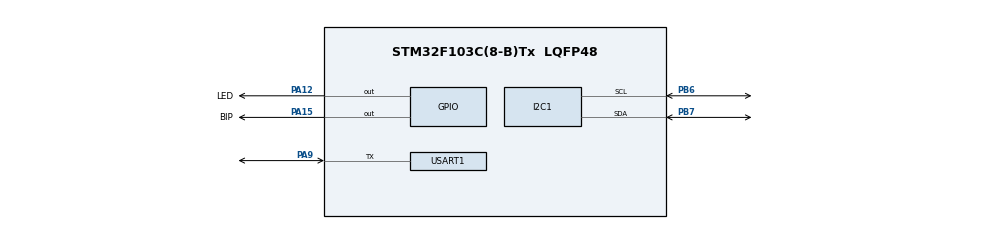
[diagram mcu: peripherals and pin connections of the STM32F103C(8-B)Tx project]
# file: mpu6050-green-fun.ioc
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IWDG.Reload=3000
Mcu.Family=STM32F1
Mcu.Name=STM32F103C(8-B)Tx
Mcu.Package=LQFP48
NVIC.PriorityGroup=NVIC_PRIORITYGROUP_4
PA12.GPIO_Label=LED
PA12.GPIO_ModeDefaultOutputPP=GPIO_MODE_OUTPUT_OD
PA12.GPIO_PuPd=GPIO_NOPULL
PA12.PinState=GPIO_PIN_SET
PA12.Signal=GPIO_Output
PA13.Mode=Serial_Wire
PA13.Signal=SYS_JTMS-SWDIO
PA14.Mode=Serial_Wire
PA14.Signal=SYS_JTCK-SWCLK
PA15.GPIO_Label=BIP
PA15.GPIO_ModeDefaultOutputPP=GPIO_MODE_OUTPUT_OD
PA15.GPIO_PuPd=GPIO_NOPULL
PA15.PinState=GPIO_PIN_SET
PA15.Signal=GPIO_Output
PA9.Mode=Half_duplex(single_wire_mode)
PA9.Signal=USART1_TX
PB6.Mode=I2C
PB6.Signal=I2C1_SCL
PB7.Mode=I2C
PB7.Signal=I2C1_SDA
ProjectManager.HeapSize=0x200
ProjectManager.StackSize=0x400
ProjectManager.TargetToolchain=STM32CubeIDE
RCC.APB1Freq_Value=8000000
RCC.APB2Freq_Value=8000000
USART1.BaudRate=62500
USART1.VirtualMode=VM_ASYNC
VP_IWDG_VS_IWDG.Mode=IWDG_Activate
board=custom

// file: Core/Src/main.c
/* USER CODE BEGIN Header */
/**
  ******************************************************************************
  * @file           : main.c
  * @brief          : Main program body
  ******************************************************************************
  * @attention
  *
  * Copyright (c) 2022 STMicroelectronics.
  * All rights reserved.
  *
  * This software is licensed under terms that can be found in the LICENSE file
  * in the root directory of this software component.
  * If no LICENSE file comes with this software, it is provided AS-IS.
  *
  ******************************************************************************
  */
/* USER CODE END Header */
#include "main.h"
#include "i2c.h"
#include "iwdg.h"
#include "usart.h"
#include "gpio.h"

/* USER CODE BEGIN Includes */

	#include <string.h>
	#include "stdio.h"
	#include "mpu6050.h"

/* USER CODE END Includes */

/* USER CODE BEGIN PD */

	#define 	MY_DEBUG
#ifdef MY_DEBUG
	#define 	UART_DEBUG 			&huart1
#endif

/* USER CODE END PD */

/* USER CODE BEGIN PM */

	MPU6050_t MPU6050;

/* USER CODE END PM */

void SystemClock_Config(void);
/* USER CODE BEGIN PFP */

void UartDebug(char* _text) ;
void I2C_ScanBusFlow(I2C_HandleTypeDef * _hi2c, UART_HandleTypeDef * _huart) ;

/* USER CODE END PFP */

int main(void)
{

  /* MCU Configuration--------------------------------------------------------*/

  /* Reset of all peripherals, Initializes the Flash interface and the Systick. */
  HAL_Init();

  /* Configure the system clock */
  SystemClock_Config();

  /* Initialize all configured peripherals */
  MX_GPIO_Init();
  MX_I2C1_Init();
  MX_USART1_UART_Init();
  MX_IWDG_Init();
  /* USER CODE BEGIN 2 */

	char		debugString[0XFF]	= { 0 } ;

	#define 	DATE_as_int_str 	(__DATE__)
	#define 	TIME_as_int_str 	(__TIME__)
	sprintf(debugString,"\tBuild: %s. Time: %s.\r\n" ,	DATE_as_int_str , TIME_as_int_str ) ;
	UartDebug(debugString);

	sprintf(debugString,"\tПоточний проєкт: %s\n", PROJECT_NAME);
	UartDebug(debugString);

	I2C_ScanBusFlow(&hi2c1, &huart1);

	sprintf(debugString,"Connect to MPU6050... " ) ;
	UartDebug(debugString);

	while (MPU6050_Init(&hi2c1) == 1);

	sprintf(debugString,"successful!\r\n\r\n" ) ;
	UartDebug(debugString);
	HAL_IWDG_Refresh( &hiwdg ) ;

	for (uint8_t i=0; i<3; i++) {
		HAL_GPIO_WritePin(BIP_GPIO_Port, BIP_Pin, RESET ) ;
		HAL_GPIO_WritePin(LED_GPIO_Port, LED_Pin, RESET ) ;
		HAL_Delay(50);
		HAL_GPIO_WritePin(BIP_GPIO_Port, BIP_Pin, SET ) ;
		HAL_GPIO_WritePin(LED_GPIO_Port, LED_Pin, SET ) ;
		HAL_Delay(200);
		HAL_IWDG_Refresh( &hiwdg ) ;
	}
  /* USER CODE END 2 */

  /* Infinite loop */
  /* USER CODE BEGIN WHILE */
  while (1)
  {
	MPU6050_Read_All(&hi2c1, &MPU6050);
//	HAL_Delay(100);
//	sprintf(debugString,"x.Raw -> %x\ty.Raw -> %x\tz.Raw -> %x\t ", MPU6050.Accel_X_RAW , MPU6050.Accel_Y_RAW , MPU6050.Accel_Z_RAW);
//	UartDebug(debugString);
//
//	sprintf(debugString,"x -> %fx\ty -> %fx\tz -> %fx\t \n\r", MPU6050.Ax, MPU6050.Ay, MPU6050.Az);
//	UartDebug(debugString);

	HAL_Delay(100);
	sprintf(debugString,"%f \t %f \t %f", MPU6050.Ax, MPU6050.Ay, MPU6050.Az);
	UartDebug(debugString);

	int x_int = (int)( 100.0 * MPU6050.Ax ) ;
	int y_int = (int)( 100.0 * MPU6050.Ay ) ;
	int z_int = (int)( 100.0 * MPU6050.Az ) ;
	int q_int = (x_int * x_int) + (y_int * y_int) + (z_int * z_int) ;

	sprintf(debugString,"\t %d \t %d \t %d \t %d \r\n", x_int, y_int, z_int, q_int );
	UartDebug(debugString);

	if ( q_int != 0 ) {
		HAL_IWDG_Refresh( &hiwdg ) ;
	}

	if ((q_int > 0 ) && (q_int < 500 )) {
		HAL_GPIO_WritePin(LED_GPIO_Port, LED_Pin, SET ) ;
		HAL_GPIO_WritePin(BIP_GPIO_Port, BIP_Pin, RESET ) ;
	} else {
		HAL_GPIO_WritePin(LED_GPIO_Port, LED_Pin, RESET ) ;
		HAL_GPIO_WritePin(BIP_GPIO_Port, BIP_Pin, SET ) ;
	}

    /* USER CODE END WHILE */

  }
}

void SystemClock_Config(void)
{
  RCC_OscInitTypeDef RCC_OscInitStruct = {0};
  RCC_ClkInitTypeDef RCC_ClkInitStruct = {0};

  /** Initializes the RCC Oscillators according to the specified parameters
  * in the RCC_OscInitTypeDef structure.
  */
  RCC_OscInitStruct.OscillatorType = RCC_OSCILLATORTYPE_HSI|RCC_OSCILLATORTYPE_LSI;
  RCC_OscInitStruct.HSIState = RCC_HSI_ON;
  RCC_OscInitStruct.HSICalibrationValue = RCC_HSICALIBRATION_DEFAULT;
  RCC_OscInitStruct.LSIState = RCC_LSI_ON;
  RCC_OscInitStruct.PLL.PLLState = RCC_PLL_NONE;
  if (HAL_RCC_OscConfig(&RCC_OscInitStruct) != HAL_OK)
  {
    Error_Handler();
  }

  /** Initializes the CPU, AHB and APB buses clocks
  */
  RCC_ClkInitStruct.ClockType = RCC_CLOCKTYPE_HCLK|RCC_CLOCKTYPE_SYSCLK
                              |RCC_CLOCKTYPE_PCLK1|RCC_CLOCKTYPE_PCLK2;
  RCC_ClkInitStruct.SYSCLKSource = RCC_SYSCLKSOURCE_HSI;
  RCC_ClkInitStruct.AHBCLKDivider = RCC_SYSCLK_DIV1;
  RCC_ClkInitStruct.APB1CLKDivider = RCC_HCLK_DIV1;
  RCC_ClkInitStruct.APB2CLKDivider = RCC_HCLK_DIV1;

  if (HAL_RCC_ClockConfig(&RCC_ClkInitStruct, FLASH_LATENCY_0) != HAL_OK)
  {
    Error_Handler();
  }
}

/* USER CODE BEGIN 4 */

void UartDebug(char* _text) {
	#ifdef MY_DEBUG
		HAL_UART_Transmit(UART_DEBUG, (uint8_t*)_text, strlen(_text), 100);
	#endif
}	//***********************************************************************

//======================================================================
void I2C_ScanBusFlow(I2C_HandleTypeDef * _hi2c, UART_HandleTypeDef * _huart) {
	char DataChar[64];
	uint8_t device_serial_numb = 0;

	sprintf(DataChar,"\r\n\tStart scan I2C\r\n");
	HAL_UART_Transmit(_huart, (uint8_t *)DataChar, strlen(DataChar), 100);

	for ( uint8_t sbf = 0x07; sbf < 0x78; sbf++) {
		if (HAL_I2C_IsDeviceReady(_hi2c, sbf << 1, 10, 100) == HAL_OK) {
			device_serial_numb++;
			switch (sbf) {
				case 0x20: sprintf(DataChar,"%d) PCF-8574"			, device_serial_numb ) ; 	break ;
				case 0x23: sprintf(DataChar,"%d) BH-1750"			, device_serial_numb ) ; 	break ;
				case 0x27: sprintf(DataChar,"%d) FC113 "			, device_serial_numb ) ; 	break ;
				case 0x38: sprintf(DataChar,"%d) PCF-8574"			, device_serial_numb ) ; 	break ;
				case 0x57: sprintf(DataChar,"%d) AT24c32"			, device_serial_numb ) ; 	break ;
				case 0x50: sprintf(DataChar,"%d) AT24c256"			, device_serial_numb ) ; 	break ;
				case 0x68: sprintf(DataChar,"%d) DS3231 or MPU9250"	, device_serial_numb ) ; 	break ;
				case 0x76: sprintf(DataChar,"%d) BMP280"			, device_serial_numb ) ; 	break ;
				case 0x77: sprintf(DataChar,"%d) BMP180"			, device_serial_numb ) ; 	break ;
				default:   sprintf(DataChar,"%d) Unknown"			, device_serial_numb ) ;	break ;
			}// end switch
			char DataCharRes[96];
			sprintf(DataCharRes,"%s\tAdr: 0x%x\r\n", DataChar, sbf);
			HAL_UART_Transmit(_huart, (uint8_t *)DataCharRes, strlen(DataCharRes), 100);
			HAL_Delay(10);
		} //end if HAL I2C1
	} // end for sbf i2c1

	if (device_serial_numb == 0) {
		sprintf(DataChar,"---no devices found---\r\n");
		HAL_UART_Transmit(_huart, (uint8_t *)DataChar, strlen(DataChar), 100);
	}
	sprintf(DataChar,"\tEnd scan I2C\r\n");
	HAL_UART_Transmit(_huart, (uint8_t *)DataChar, strlen(DataChar), 100);
}// end void I2C_ScanBus

/* USER CODE END 4 */

void Error_Handler(void)
{
  __disable_irq();
  while (1)
  {
  }
}
